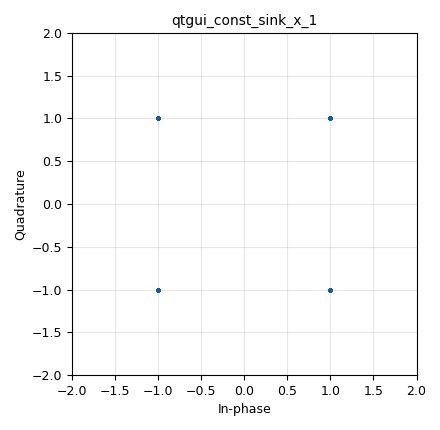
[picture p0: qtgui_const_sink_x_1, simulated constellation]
options:
  parameters:
    generate_options: qt_gui
    id: qpsk_flowgraph
    output_language: python
    title: QPSK Modulation
  states: {}

blocks:
- name: samp_rate
  id: variable
  parameters:
    value: '32000'
  states: {}
- name: blocks_throttle2_0
  id: blocks_throttle2
  parameters:
    samples_per_second: '32000'
    type: complex
  states: {}
- name: blocks_vector_source_x_0
  id: blocks_vector_source_x
  parameters:
    repeat: 'True'
    type: byte
    vector: '[0, 1, 2, 3]'
  states: {}
- name: epy_block_0
  id: epy_block
  parameters:
    _source_code: |-
      """
      Embedded Python Block - QPSK Modulator
      Convertit des symboles (0, 1, 2, 3) en symboles QPSK
      """

      import numpy as np
      from gnuradio import gr

      class blk(gr.sync_block):
          """Bloc de modulation QPSK"""

          def __init__(self):
              gr.sync_block.__init__(
                  self,
                  name='QPSK Modulator',
                  in_sig=[np.uint8],
                  out_sig=[np.complex64]
              )

          def work(self, input_items, output_items):
              """Convertit les symboles en QPSK"""
              symbols = input_items[0]
              out = output_items[0]
              
              # Table de mapping QPSK :
              # 0 -> +1+1j
              # 1 -> -1+1j
              # 2 -> -1-1j
              # 3 -> +1-1j
              constellation = [
                  complex(1.0, 1.0),   # 0
                  complex(-1.0, 1.0),  # 1
                  complex(-1.0, -1.0), # 2
                  complex(1.0, -1.0)   # 3
              ]
              
              for i in range(len(symbols)):
                  sym = symbols[i] % 4
                  out[i] = constellation[sym]
              
              return len(symbols)
  states: {}
- name: qtgui_const_sink_x_1
  id: qtgui_const_sink_x
  parameters:
    size: '1024'
    type: complex
  states: {}

connections:
- [blocks_throttle2_0, '0', qtgui_const_sink_x_1, '0']
- [blocks_vector_source_x_0, '0', epy_block_0, '0']
- [epy_block_0, '0', blocks_throttle2_0, '0']

metadata:
  file_format: 1
  grc_version: 3.10.12.0
